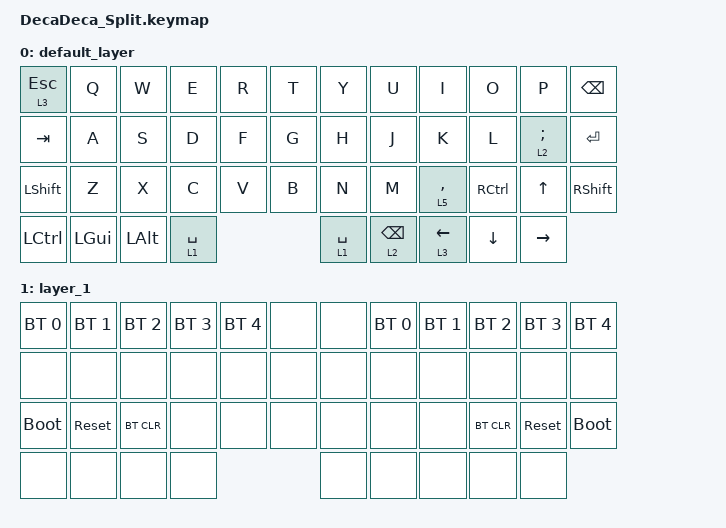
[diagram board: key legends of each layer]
#include <behaviors.dtsi>
#include <dt-bindings/zmk/bt.h>
#include <dt-bindings/zmk/keys.h>
#include <dt-bindings/zmk/keys.h>
#include <dt-bindings/zmk/mouse.h>

/ {

    keymap {
        compatible = "zmk,keymap";

        default_layer {
            bindings = <
&lt 3 ESC  &kp Q     &kp W     &kp E        &kp R  &kp T  &kp Y        &kp U            &kp I        &kp O      &kp P            &kp BACKSPACE
&kp TAB    &kp A     &kp S     &kp D        &kp F  &kp G  &kp H        &kp J            &kp K        &kp L      &lt 2 SEMICOLON  &kp ENTER
&kp LSHFT  &kp Z     &kp X     &kp C        &kp V  &kp B  &kp N        &kp M            &lt 5 COMMA  &kp RCTRL  &kp UP_ARROW     &kp RSHIFT
&kp LCTRL  &kp LGUI  &kp LALT  &lt 1 SPACE                &lt 1 SPACE  &lt 2 BACKSPACE  &lt 3 LEFT   &kp DOWN   &kp RIGHT
            >;
        };

        layer_1 {
            bindings = <
&bt BT_SEL 0  &bt BT_SEL 1  &bt BT_SEL 2  &bt BT_SEL 3  &bt BT_SEL 4  &none  &none  &bt BT_SEL 0  &bt BT_SEL 1  &bt BT_SEL 2  &bt BT_SEL 3  &bt BT_SEL 4
&none         &none         &none         &none         &none         &none  &none  &none         &none         &none         &none         &none
&bootloader   &sys_reset    &bt BT_CLR    &none         &none         &none  &none  &none         &none         &bt BT_CLR    &sys_reset    &bootloader
&none         &none         &none         &none                              &none  &none         &none         &none         &none
            >;
        };
    };
};
